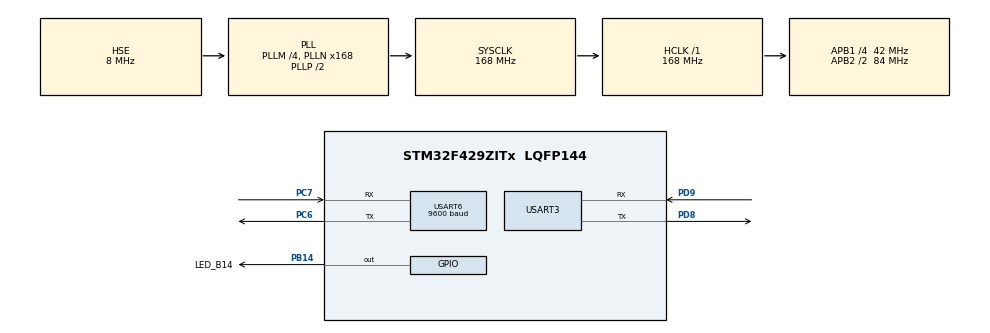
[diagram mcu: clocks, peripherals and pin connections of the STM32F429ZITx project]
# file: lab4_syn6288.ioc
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Dma.Request0=USART3_TX
Dma.Request1=USART3_RX
Dma.Request2=USART6_TX
Dma.USART3_RX.1.Direction=DMA_PERIPH_TO_MEMORY
Dma.USART3_RX.1.FIFOMode=DMA_FIFOMODE_DISABLE
Dma.USART3_RX.1.Instance=DMA1_Stream1
Dma.USART3_RX.1.MemDataAlignment=DMA_MDATAALIGN_BYTE
Dma.USART3_RX.1.MemInc=DMA_MINC_ENABLE
Dma.USART3_RX.1.Mode=DMA_NORMAL
Dma.USART3_RX.1.PeriphDataAlignment=DMA_PDATAALIGN_BYTE
Dma.USART3_RX.1.PeriphInc=DMA_PINC_DISABLE
Dma.USART3_RX.1.Priority=DMA_PRIORITY_LOW
Dma.USART3_TX.0.Direction=DMA_MEMORY_TO_PERIPH
Dma.USART3_TX.0.FIFOMode=DMA_FIFOMODE_DISABLE
Dma.USART3_TX.0.Instance=DMA1_Stream3
Dma.USART3_TX.0.MemDataAlignment=DMA_MDATAALIGN_BYTE
Dma.USART3_TX.0.MemInc=DMA_MINC_ENABLE
Dma.USART3_TX.0.Mode=DMA_NORMAL
Dma.USART3_TX.0.PeriphDataAlignment=DMA_PDATAALIGN_BYTE
Dma.USART3_TX.0.PeriphInc=DMA_PINC_DISABLE
Dma.USART3_TX.0.Priority=DMA_PRIORITY_LOW
Dma.USART6_TX.2.Direction=DMA_MEMORY_TO_PERIPH
Dma.USART6_TX.2.FIFOMode=DMA_FIFOMODE_DISABLE
Dma.USART6_TX.2.Instance=DMA2_Stream6
Dma.USART6_TX.2.MemDataAlignment=DMA_MDATAALIGN_BYTE
Dma.USART6_TX.2.MemInc=DMA_MINC_ENABLE
Dma.USART6_TX.2.Mode=DMA_NORMAL
Dma.USART6_TX.2.PeriphDataAlignment=DMA_PDATAALIGN_BYTE
Dma.USART6_TX.2.PeriphInc=DMA_PINC_DISABLE
Dma.USART6_TX.2.Priority=DMA_PRIORITY_LOW
FREERTOS.Tasks01=defaultTask,24,128,StartDefaultTask,Default,NULL,Dynamic,NULL,NULL
Mcu.Family=STM32F4
Mcu.Name=STM32F429ZITx
Mcu.Package=LQFP144
NVIC.DMA1_Stream1_IRQn=true\:5\:0\:false\:false\:true\:true\:false\:true\:true
NVIC.DMA1_Stream3_IRQn=true\:5\:0\:false\:false\:true\:true\:false\:true\:true
NVIC.DMA2_Stream6_IRQn=true\:5\:0\:false\:false\:true\:true\:false\:true\:true
NVIC.PriorityGroup=NVIC_PRIORITYGROUP_4
NVIC.USART3_IRQn=true\:5\:0\:false\:false\:true\:true\:true\:true\:true
NVIC.USART6_IRQn=true\:5\:0\:true\:false\:true\:true\:true\:true\:true
PA13.Mode=Serial_Wire
PA13.Signal=SYS_JTMS-SWDIO
PA14.Mode=Serial_Wire
PA14.Signal=SYS_JTCK-SWCLK
PB14.GPIO_Label=LED_B14
PB14.Signal=GPIO_Output
PC14/OSC32_IN.Mode=LSE-External-Oscillator
PC14/OSC32_IN.Signal=RCC_OSC32_IN
PC15/OSC32_OUT.Mode=LSE-External-Oscillator
PC15/OSC32_OUT.Signal=RCC_OSC32_OUT
PC6.Mode=Asynchronous
PC6.Signal=USART6_TX
PC7.Mode=Asynchronous
PC7.Signal=USART6_RX
PD8.Mode=Asynchronous
PD8.Signal=USART3_TX
PD9.Mode=Asynchronous
PD9.Signal=USART3_RX
PH0/OSC_IN.Mode=HSE-External-Oscillator
PH0/OSC_IN.Signal=RCC_OSC_IN
PH1/OSC_OUT.Mode=HSE-External-Oscillator
PH1/OSC_OUT.Signal=RCC_OSC_OUT
ProjectManager.HeapSize=0x200
ProjectManager.StackSize=0x400
ProjectManager.TargetToolchain=MDK-ARM V5.32
RCC.48MHZClocksFreq_Value=48000000
RCC.AHBFreq_Value=168000000
RCC.APB1CLKDivider=RCC_HCLK_DIV4
RCC.APB1Freq_Value=42000000
RCC.APB1TimFreq_Value=84000000
RCC.APB2CLKDivider=RCC_HCLK_DIV2
RCC.APB2Freq_Value=84000000
RCC.APB2TimCLKDivider=2
RCC.APB2TimFreq_Value=168000000
RCC.CortexFreq_Value=168000000
RCC.HCLKFreq_Value=168000000
RCC.HSE_VALUE=8000000
RCC.HSI_VALUE=16000000
RCC.PLLM=4
RCC.PLLMUL=RCC_PLL_MUL9
RCC.PLLN=168
RCC.PLLQ=7
RCC.PLLSourceVirtual=RCC_PLLSOURCE_HSE
RCC.PRESCALERUSB=RCC_USBCLKSOURCE_PLL_DIV1_5
RCC.SYSCLKFreq_VALUE=168000000
RCC.SYSCLKSource=RCC_SYSCLKSOURCE_PLLCLK
RCC.SYSCLKSourceVirtual=RCC_SYSCLKSOURCE_PLLCLK
RCC.USBFreq_Value=48000000
RCC.VCOOutputFreq_Value=336000000
USART3.VirtualMode=VM_ASYNC
USART6.BaudRate=9600
USART6.VirtualMode=VM_ASYNC
VP_FREERTOS_VS_CMSIS_V2.Mode=CMSIS_V2
board=NUCLEO-F429ZI

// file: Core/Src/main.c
/* USER CODE BEGIN Header */
/**
  ******************************************************************************
  * @file           : main.c
  * @brief          : Main program body
  ******************************************************************************
  * @attention
  *
  * Copyright (c) 2024 STMicroelectronics.
  * All rights reserved.
  *
  * This software is licensed under terms that can be found in the LICENSE file
  * in the root directory of this software component.
  * If no LICENSE file comes with this software, it is provided AS-IS.
  *
  ******************************************************************************
  */
/* USER CODE END Header */
#include "main.h"
#include "dma.h"
#include "usart.h"
#include "gpio.h"

/* USER CODE BEGIN Includes */
#include "FreeRTOS.h"
#include "task.h"
#include "semphr.h"
#include "syn6288.h"
#include "string.h"
#include "stdio.h"
/* USER CODE END Includes */

/* USER CODE BEGIN PV */
uint8_t recvBuf[2];
uint8_t TTSData[] = {0x5b,0x76,0x36,0x5d,0x5b,0x6d,0x30,0x5d,0x5b,0x74,0x35,0x5d,0xeb,0x85,0xc1,0xd6,0xbf,0xc6,0xbc,0xbc,0xb4,0xf3,0x8c,0x57};

TaskHandle_t handleSYN6288;
SemaphoreHandle_t xSem;
/* USER CODE END PV */

void SystemClock_Config(void);

/* USER CODE BEGIN 0 */

void taskSYN6288(void *pvParm){

	while (1){
		SYN_FrameInfo(0, TTSData);

		vTaskDelay(3000);

	}
}
/* USER CODE END 0 */

int main(void)
{

  /* MCU Configuration--------------------------------------------------------*/

  /* Reset of all peripherals, Initializes the Flash interface and the Systick. */
  HAL_Init();

  /* Configure the system clock */
  SystemClock_Config();

  /* Initialize all configured peripherals */
  MX_GPIO_Init();
  MX_DMA_Init();
  MX_USART3_UART_Init();
  MX_USART6_UART_Init();
  /* USER CODE BEGIN 2 */
	xTaskCreate(taskSYN6288, "TTS Service", 128, NULL, 1, &handleSYN6288);
	vTaskStartScheduler();
  /* USER CODE END 2 */

  /* Init scheduler */

  /* We should never get here as control is now taken by the scheduler */
  /* Infinite loop */
  while (1)
  {

  }
}

void SystemClock_Config(void)
{
  RCC_OscInitTypeDef RCC_OscInitStruct = {0};
  RCC_ClkInitTypeDef RCC_ClkInitStruct = {0};

  /** Configure the main internal regulator output voltage
  */
  __HAL_RCC_PWR_CLK_ENABLE();
  __HAL_PWR_VOLTAGESCALING_CONFIG(PWR_REGULATOR_VOLTAGE_SCALE1);

  /** Initializes the RCC Oscillators according to the specified parameters
  * in the RCC_OscInitTypeDef structure.
  */
  RCC_OscInitStruct.OscillatorType = RCC_OSCILLATORTYPE_HSE;
  RCC_OscInitStruct.HSEState = RCC_HSE_ON;
  RCC_OscInitStruct.PLL.PLLState = RCC_PLL_ON;
  RCC_OscInitStruct.PLL.PLLSource = RCC_PLLSOURCE_HSE;
  RCC_OscInitStruct.PLL.PLLM = 4;
  RCC_OscInitStruct.PLL.PLLN = 168;
  RCC_OscInitStruct.PLL.PLLP = RCC_PLLP_DIV2;
  RCC_OscInitStruct.PLL.PLLQ = 7;
  if (HAL_RCC_OscConfig(&RCC_OscInitStruct) != HAL_OK)
  {
    Error_Handler();
  }

  /** Initializes the CPU, AHB and APB buses clocks
  */
  RCC_ClkInitStruct.ClockType = RCC_CLOCKTYPE_HCLK|RCC_CLOCKTYPE_SYSCLK
                              |RCC_CLOCKTYPE_PCLK1|RCC_CLOCKTYPE_PCLK2;
  RCC_ClkInitStruct.SYSCLKSource = RCC_SYSCLKSOURCE_PLLCLK;
  RCC_ClkInitStruct.AHBCLKDivider = RCC_SYSCLK_DIV1;
  RCC_ClkInitStruct.APB1CLKDivider = RCC_HCLK_DIV4;
  RCC_ClkInitStruct.APB2CLKDivider = RCC_HCLK_DIV2;

  if (HAL_RCC_ClockConfig(&RCC_ClkInitStruct, FLASH_LATENCY_5) != HAL_OK)
  {
    Error_Handler();
  }
}

void Error_Handler(void)
{
  __disable_irq();
  while (1)
  {
  }
}
